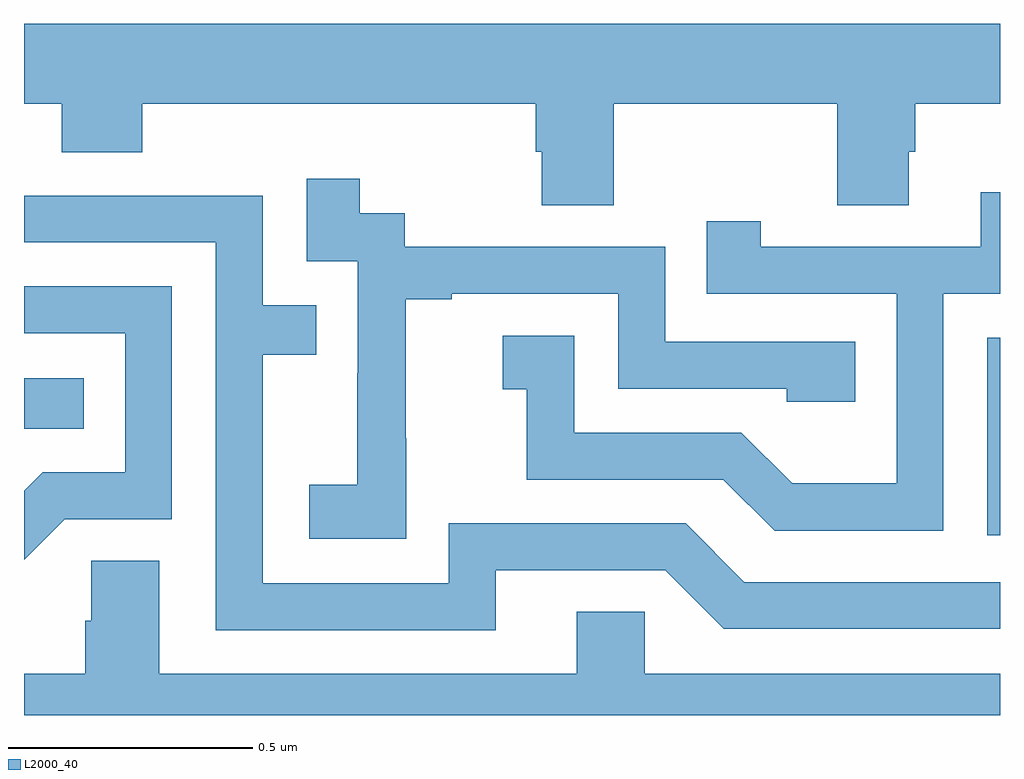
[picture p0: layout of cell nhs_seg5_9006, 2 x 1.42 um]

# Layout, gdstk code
import gdstk
lib = gdstk.Library(unit=1e-6, precision=1e-09)
def R(c, l, rs):  # rectangles x0, y0, x1, y1
    for r in rs: c.add(gdstk.rectangle(r[:2], r[2:], *l))
def P(c, l, *ps):  # polygons
    for p in ps: c.add(gdstk.Polygon(p, *l))
L2000_40 = (2000, 40)

nhs_seg5_9006 = lib.new_cell('nhs_seg5_9006')
R(nhs_seg5_9006, L2000_40, [(229.974,897.168,230,897.573), (228,897.386,228.122,897.49)])
P(nhs_seg5_9006, L2000_40, [(229.209,898.052),(229.666,898.052),(229.666,897.844),(229.813,897.844),(229.813,897.954),(229.826,897.954),(229.826,898.052),(230,898.052),(230,898.216),(228,898.216),(228,898.052),(228.077,898.052),(228.077,897.953),(228.242,897.953),(228.242,898.052),(229.049,898.052),(229.049,897.954),(229.061,897.954),(229.061,897.844),(229.209,897.844)],
  [(228.783,897.367),(228.782,897.367),(228.782,897.651),(228.877,897.651),(228.877,897.663),(229.218,897.663),(229.218,897.468),(229.563,897.468),(229.563,897.441),(229.703,897.441),(229.703,897.564),(229.314,897.564),(229.314,897.759),(228.78,897.759),(228.78,897.828),(228.688,897.828),(228.688,897.898),(228.579,897.898),(228.579,897.729),(228.684,897.729),(228.684,897.5),(228.683,897.5),(228.683,897.271),(228.585,897.271),(228.585,897.161),(228.783,897.161)],
  [(229.884,897.663),(230,897.663),(230,897.871),(229.961,897.871),(229.961,897.759),(229.51,897.759),(229.51,897.811),(229.399,897.811),(229.399,897.663),(229.788,897.663),(229.788,897.274),(229.574,897.274),(229.47,897.378),(229.128,897.378),(229.128,897.577),(228.981,897.577),(228.981,897.467),(229.03,897.467),(229.03,897.282),(229.433,897.282),(229.538,897.177),(229.884,897.177)],
  [(228.967,897.096),(229.314,897.096),(229.434,896.976),(230,896.976),(230,897.072),(229.476,897.072),(229.356,897.192),(228.87,897.192),(228.87,897.069),(228.489,897.069),(228.489,897.538),(228.599,897.538),(228.599,897.639),(228.489,897.639),(228.489,897.864),(228,897.864),(228,897.768),(228.393,897.768),(228.393,896.973),(228.967,896.973)],
  [(228.084,897.201),(228.303,897.201),(228.303,897.678),(228,897.678),(228,897.582),(228.207,897.582),(228.207,897.297),(228.038,897.297),(228,897.259),(228,897.118)],
  [(230,896.884),(229.272,896.884),(229.272,897.011),(229.133,897.011),(229.133,896.884),(228.277,896.884),(228.277,897.116),(228.138,897.116),(228.138,896.993),(228.125,896.993),(228.125,896.884),(228,896.884),(228,896.799),(230,896.799)])

lib.write_gds('nhs_seg5_9006.gds')
